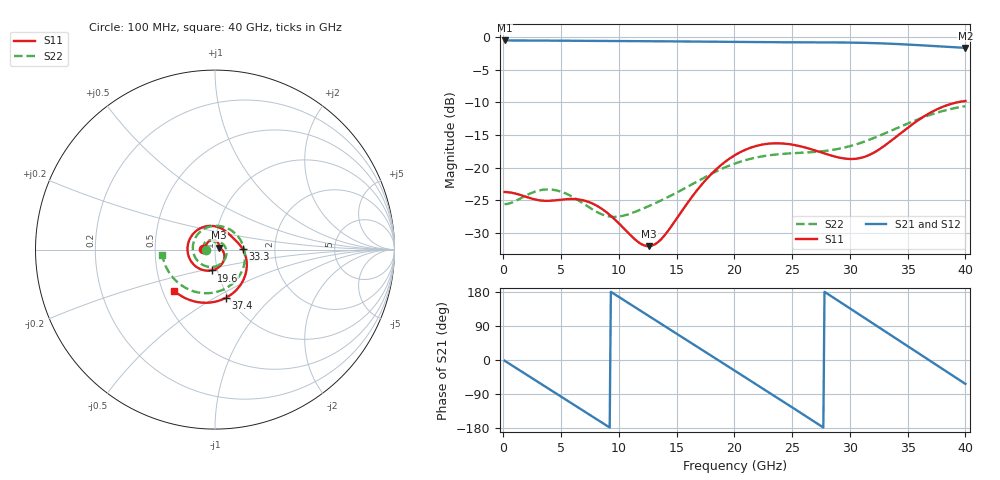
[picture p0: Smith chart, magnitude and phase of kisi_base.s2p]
! X_s8x4_L1L3_bd_d200: L1→L3 back-drilled, drill Ø0.2, L4 plane removed: L3 exits inside the thick L2–L5 pair
! stackup: 8-layer 1.6 mm FR-4 without the L4 plane
! ports: 1, 2
! kisi-fdtd, conformal, dfine 0.035 mm, 611065 cells
# Hz S RI R 50
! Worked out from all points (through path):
!   400 points, 100 MHz to 40 GHz, reference 50 ohm
!   highest |S21| = -0.55 dB at 100 MHz (marker M1); lowest = -1.7 dB at 40 GHz (marker M2)
!   group delay of S21, straight-line fit = 54.3 ps
!   lowest |S11| = -32.0 dB at 12.6 GHz (marker M3), VSWR 1.05, Z = 52.3 + j1.06 ohm
!   |S11| at or under -10 dB: start of sweep to 39.33 GHz
!   |S22| runs from -27.5 to -10.6 dB; largest |S21 - S12| = 0.004
!   S11 on the Smith chart (normalised r, x): 100 MHz: 0.88, +0.00; 19.6 GHz: 0.94, -0.22; 33.3 GHz: 1.36, +0.01; 37.4 GHz: 0.97, -0.56; 40 GHz: 0.57, -0.29
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1e8  -0.0651 0.00132  0.9385 -0.0318  0.9404 -0.032  -0.0525 5.77e-05
1.8e9  -0.0572 0.0195  0.7694 -0.5372  0.7695 -0.539  -0.0598 0.00708
3.7e9  -0.0475 0.0291  0.2934 -0.8896  0.2919 -0.8895  -0.0592 0.0336
5.2e9  -0.0407 0.0401  -0.175 -0.9186  -0.1752 -0.9173  -0.0405 0.0502
6.8e9  -0.0222 0.052  -0.6214 -0.6964  -0.6205 -0.696  -0.0177 0.051
9.6e9  0.0183 0.0361  -0.9254 0.0962  -0.9258 0.0955  0.00114 0.042
1.26e10  0.023 0.0101  -0.4053 0.8336  -0.4054 0.8342  0.0342 0.0376
1.34e10  0.0258 0.00804  -0.1673 0.9105  -0.167 0.911  0.0471 0.028
1.51e10  0.0417 -0.0044  0.3542 0.8523  0.3547 0.8521  0.0642 -0.0107
1.69e10  0.0519 -0.0462  0.7756 0.4941  0.7754 0.4937  0.0476 -0.0639
1.96e10  -0.0195 -0.116  0.86 -0.3111  0.8599 -0.3107  -0.0436 -0.0943
2.01e10  -0.0436 -0.1177  0.7946 -0.4512  0.7946 -0.4508  -0.0628 -0.0878
2.18e10  -0.1222 -0.0794  0.4193 -0.8093  0.4197 -0.8093  -0.1126 -0.0386
2.34e10  -0.1534 0.00408  -0.0595 -0.9082  -0.0594 -0.9086  -0.122 0.0294
2.67e10  -0.0433 0.1308  -0.845 -0.3351  -0.8452 -0.3347  -0.0233 0.1293
2.95e10  0.0651 0.0979  -0.753 0.5036  -0.7523 0.5033  0.1031 0.098
3.15e10  0.1094 0.0565  -0.2529 0.8628  -0.2533 0.862  0.1609 0.00865
3.33e10  0.154 0.00251  0.2992 0.8364  0.2982 0.8369  0.1568 -0.1022
3.34e10  0.1564 -0.00184  0.328 0.8247  0.327 0.8253  0.1545 -0.1086
3.55e10  0.1706 -0.1349  0.779 0.3854  0.7801 0.3866  0.0491 -0.2213
3.74e10  0.0606 -0.2687  0.8324 -0.1692  0.8339 -0.1709  -0.1178 -0.2327
4e10  -0.2293 -0.2279  0.3734 -0.7344  0.3694 -0.7349  -0.2935 -0.0328
